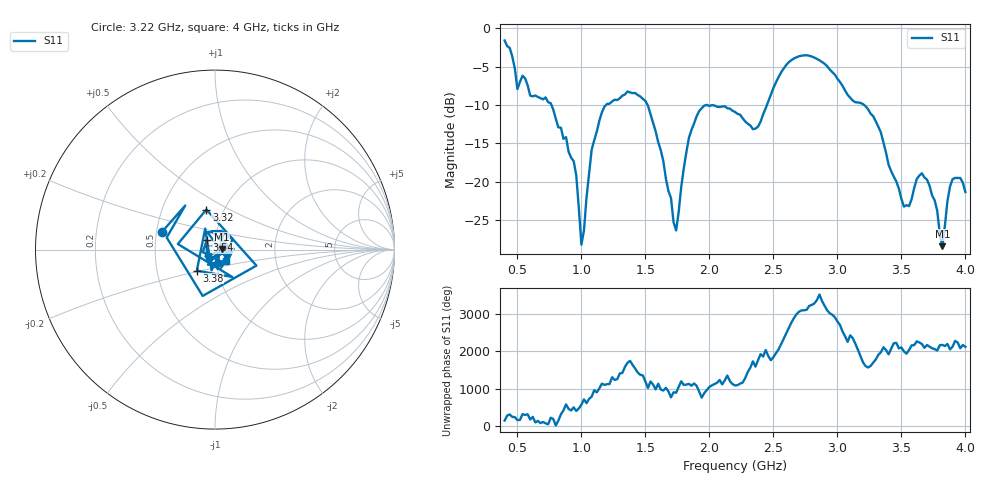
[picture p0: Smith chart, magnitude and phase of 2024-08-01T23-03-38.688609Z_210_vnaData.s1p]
!Created with skrf (http://scikit-rf.org).
# Hz S RI R 50.0
!freq ReS11 ImS11
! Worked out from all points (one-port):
!   181 points, 400 MHz to 4 GHz, reference 50 ohm
!   lowest |S11| = -28.4 dB at 3.82 GHz (marker M1), VSWR 1.08, Z = 53.9 + j0.418 ohm
!   |S11| at or under -10 dB: 1.517 GHz to 1.977 GHz (460 MHz wide, 26.3 % of centre); 1.982 GHz to 2.45 GHz (467.7 MHz wide, 21.1 % of centre); 3.209 GHz to end of sweep (the widest 3 of 4)
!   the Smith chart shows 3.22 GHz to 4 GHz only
!   S11 on the Smith chart (normalised r, x): 3.22 GHz: 0.54, +0.12; 3.32 GHz: 0.83, +0.39; 3.38 GHz: 0.80, -0.19; 3.54 GHz: 0.91, +0.10; 4 GHz: 1.12, -0.14
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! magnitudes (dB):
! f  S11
! 400 MHz  -1.6
! 500 MHz  -7.9
! 720 MHz  -9.0
! 860 MHz  -14.4
! 960 MHz  -19.2
! 1 GHz  -28.2
! 1.08 GHz  -15.8
! 1.18 GHz  -10.2
! 1.3 GHz  -9.1
! 1.52 GHz  -10.1
! 1.72 GHz  -25.2
! 1.76 GHz  -23.9
! 1.84 GHz  -14.3
! 1.92 GHz  -10.8
! 2.2 GHz  -10.9
! 2.38 GHz  -12.8
! 2.66 GHz  -3.9
! 3.1 GHz  -9.1
! 3.22 GHz  -10.2
! 3.32 GHz  -12.8
! 3.38 GHz  -16.2
! 3.54 GHz  -23.0
! 3.56 GHz  -23.2
! 3.66 GHz  -18.9
! 3.76 GHz  -22.4
! 3.82 GHz  -28.4
! 3.9 GHz  -19.6
! 4 GHz  -21.3
